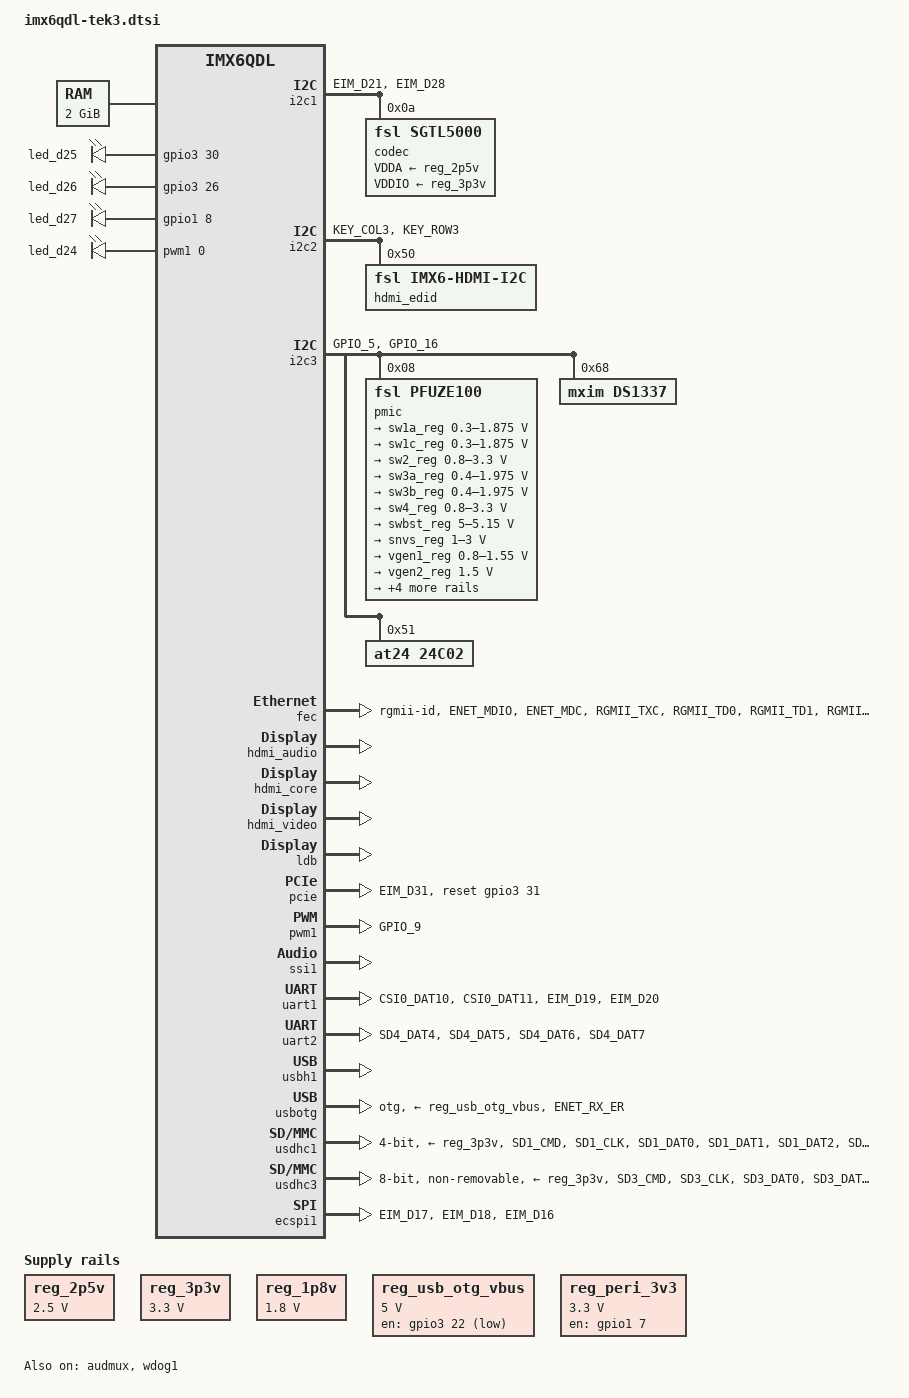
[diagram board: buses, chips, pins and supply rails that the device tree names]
/*
 * Copyright 2018 TechNexion Ltd.
 *
 * Author: Richard Hu <richard.hu@technexion.com>
 *	   Wig Cheng  <wig.cheng@technexion.com>
 *	   Ray Chang  <ray.chang@technexion.com>
 *
 * This program is free software; you can redistribute it and/or modify
 * it under the terms of the GNU General Public License version 2 as
 * published by the Free Software Foundation.
 *
 */

#include <dt-bindings/gpio/gpio.h>

/* External GPIO */
#define TEK_GPIO_P233 gpio1 1
#define TEK_GPIO_P235 gpio2 9
#define TEK_GPIO_P237 gpio2 10
#define TEK_GPIO_P239 gpio6 1
#define TEK_GPIO_P241 gpio6 2
#define TEK_GPIO_P243 gpio6 3
#define TEK_GPIO_P245 gpio6 4
#define TEK_GPIO_P247 gpio6 5
#define TEK_GPIO_P133 gpio1 3
#define TEK_GPIO_P135 gpio1 4
#define TEK_GPIO_P137 gpio1 6
#define TEK_GPIO_P139 gpio5 27

/ {
	aliases {
		mxcfb0 = &mxcfb1;
		mxcfb1 = &mxcfb2;
		mxcfb2 = &mxcfb3;
		mxcfb3 = &mxcfb4;
	};

	chosen {
		stdout-path = &uart1;
	};

	memory: memory {
		reg = <0x10000000 0x80000000>;
	};

	regulators {
		compatible = "simple-bus";
		#address-cells = <1>;
		#size-cells = <0>;

		reg_2p5v: regulator@0 {
			compatible = "regulator-fixed";
			reg = <0>;
			regulator-name = "2P5V";
			regulator-min-microvolt = <2500000>;
			regulator-max-microvolt = <2500000>;
			regulator-always-on;
		};

		reg_3p3v: regulator@1 {
			compatible = "regulator-fixed";
			reg = <1>;
			regulator-name = "3P3V";
			regulator-min-microvolt = <3300000>;
			regulator-max-microvolt = <3300000>;
			regulator-always-on;
		};

		reg_1p8v: regulator@2 {
			compatible = "regulator-fixed";
			reg = <2>;
			regulator-name = "1P8V";
			regulator-min-microvolt = <1800000>;
			regulator-max-microvolt = <1800000>;
			regulator-always-on;
		};

		reg_usb_otg_vbus: regulator@3 {
			compatible = "regulator-fixed";
			reg = <3>;
			regulator-name = "usb_otg_vbus";
			regulator-min-microvolt = <5000000>;
			regulator-max-microvolt = <5000000>;
			gpio = <&gpio3 22 0>;
		};

		reg_peri_3v3: regulator@4 {
			compatible = "regulator-fixed";
			reg = <4>;
			pinctrl-names = "default";
			pinctrl-0 = <&pinctrl_peri_3v3>;
			regulator-name = "peri_3v3";
			regulator-min-microvolt = <3300000>;
			regulator-max-microvolt = <3300000>;
			gpios = <&gpio1 7 GPIO_ACTIVE_HIGH>;
			enable-active-high;
			regulator-always-on;
		};
	};

	sound {
		compatible = "fsl,imx6-tek3-sgtl5000",
			     "fsl,imx-audio-sgtl5000";
		model = "audio-sgtl5000";
		ssi-controller = <&ssi1>;
		audio-codec = <&codec>;
		audio-routing =
			"MIC_IN", "Mic Jack",
			"Mic Jack", "Mic Bias",
			"Headphone Jack", "HP_OUT";
		mux-int-port = <1>;
		mux-ext-port = <3>;
	};

	sound-hdmi {
		compatible = "fsl,imx6q-audio-hdmi",
			     "fsl,imx-audio-hdmi";
		model = "imx-audio-hdmi";
		hdmi-controller = <&hdmi_audio>;
	};

	mxcfb1: fb@0 {
		compatible = "fsl,mxc_sdc_fb";
		disp_dev = "ldb";
		interface_pix_fmt = "RGB666";
		default_bpp = <16>;
		int_clk = <0>;
		late_init = <0>;
		status = "disabled";
	};

	mxcfb2: fb@1 {
		compatible = "fsl,mxc_sdc_fb";
		disp_dev = "hdmi";
		interface_pix_fmt = "RGB24";
		mode_str ="1920x1080M@60";
		default_bpp = <24>;
		int_clk = <0>;
		late_init = <0>;
		status = "disabled";
	};

	mxcfb3: fb@2 {
		compatible = "fsl,mxc_sdc_fb";
		disp_dev = "lcd";
		interface_pix_fmt = "RGB565";
		mode_str ="CLAA-WVGA";
		default_bpp = <16>;
		int_clk = <0>;
		late_init = <0>;
		status = "disabled";
	};

	mxcfb4: fb@3 {
		compatible = "fsl,mxc_sdc_fb";
		disp_dev = "ldb";
		interface_pix_fmt = "RGB666";
		default_bpp = <16>;
		int_clk = <0>;
		late_init = <0>;
		status = "disabled";
	};

	lcd@0 {
		compatible = "fsl,lcd";
		ipu_id = <0>;
		disp_id = <0>;
		default_ifmt = "RGB24";
		pinctrl-names = "default";
		pinctrl-0 = <&pinctrl_ipu1>;
		status = "okay";
	};

	gpio-leds {
		compatible = "gpio-leds";
		pinctrl-names = "default";
		pinctrl-0 = <&pinctrl_led_gpio>;

		led_d25 {
			gpios = <&gpio3 30 0>;
			default-state = "on";
		};

		led_d26 {
			gpios = <&gpio3 26 0>;
			default-state = "on";
		};

		led_d27 {
			gpios = <&gpio1 8 0>;
			default-state = "on";
		};
	};

	pwm-leds {
		compatible = "pwm-leds";

		led_d24 {
			label = "led_d24";
			pwms = <&pwm1 0 50000>;
			max-brightness = <255>;
			linux,default-trigger = "default-on";
		};
	};

	v4l2_cap_0 {
		compatible = "fsl,imx6q-v4l2-capture";
		ipu_id = <0>;
		csi_id = <0>;
		mclk_source = <0>;
		status = "okay";
	};

	v4l2_out {
		compatible = "fsl,mxc_v4l2_output";
		status = "okay";
	};

};

&audmux {
	pinctrl-names = "default";
	pinctrl-0 = <&pinctrl_audmux>;
	status = "okay";
};

&i2c1 {
	pinctrl-names = "default";
	pinctrl-0 = <&pinctrl_i2c1>;
	status = "okay";

	codec: sgtl5000@a {
		compatible = "fsl,sgtl5000";
		reg = <0x0a>;
		clocks = <&clks 201>;
		VDDA-supply = <&reg_2p5v>;
		VDDIO-supply = <&reg_3p3v>;
	};

};

&i2c2 {
	pinctrl-names = "default";
	pinctrl-0 = <&pinctrl_i2c2>;
	status = "okay";

	hdmi_edid: edid@50 {
		compatible = "fsl,imx6-hdmi-i2c";
		reg = <0x50>;
	};
};

&i2c3 {
	pinctrl-names = "default";
	pinctrl-0 = <&pinctrl_i2c3>;
	status = "okay";

	pmic: pfuze100@8 {
		compatible = "fsl,pfuze100";
		reg = <0x08>;

		regulators {
			sw1a_reg: sw1ab {
				regulator-min-microvolt = <300000>;
				regulator-max-microvolt = <1875000>;
				regulator-boot-on;
				regulator-always-on;
				regulator-ramp-delay = <6250>;
			};

			sw1c_reg: sw1c {
				regulator-min-microvolt = <300000>;
				regulator-max-microvolt = <1875000>;
				regulator-boot-on;
				regulator-always-on;
				regulator-ramp-delay = <6250>;
			};

			sw2_reg: sw2 {
				regulator-min-microvolt = <800000>;
				regulator-max-microvolt = <3300000>;
				regulator-boot-on;
				regulator-always-on;
				regulator-ramp-delay = <6250>;
			};

			sw3a_reg: sw3a {
				regulator-min-microvolt = <400000>;
				regulator-max-microvolt = <1975000>;
				regulator-boot-on;
				regulator-always-on;
			};

			sw3b_reg: sw3b {
				regulator-min-microvolt = <400000>;
				regulator-max-microvolt = <1975000>;
				regulator-boot-on;
				regulator-always-on;
			};

			sw4_reg: sw4 {
				regulator-min-microvolt = <800000>;
				regulator-max-microvolt = <3300000>;
			};

			swbst_reg: swbst {
				regulator-min-microvolt = <5000000>;
				regulator-max-microvolt = <5150000>;
			};

			snvs_reg: vsnvs {
				regulator-min-microvolt = <1000000>;
				regulator-max-microvolt = <3000000>;
				regulator-boot-on;
				regulator-always-on;
			};

			vref_reg: vrefddr {
				regulator-boot-on;
				regulator-always-on;
			};

			vgen1_reg: vgen1 {
				regulator-min-microvolt = <800000>;
				regulator-max-microvolt = <1550000>;
			};

			vgen2_reg: vgen2 {
				regulator-min-microvolt = <1500000>;
				regulator-max-microvolt = <1500000>;
				regulator-boot-on;
				regulator-always-on;
			};

			vgen3_reg: vgen3 {
				regulator-min-microvolt = <1800000>;
				regulator-max-microvolt = <3300000>;
				regulator-always-on;
			};

			vgen4_reg: vgen4 {
				regulator-min-microvolt = <1800000>;
				regulator-max-microvolt = <3300000>;
			};

			vgen5_reg: vgen5 {
				regulator-min-microvolt = <1800000>;
				regulator-max-microvolt = <3300000>;
				regulator-always-on;
			};

			vgen6_reg: vgen6 {
				regulator-min-microvolt = <1800000>;
				regulator-max-microvolt = <3300000>;
			};
		};
	};

	ds1337: rtc@68 {
		compatible = "mxim,ds1337";
		reg = <0x68>;
	};

	at24@51 {
		compatible = "at24,24c02";
		pagesize = <8>;
		reg = <0x51>;
	};
};

&gpio1 {
	gpio-line-names =											\
		"", "GPIO_P233", "", "GPIO_P133", "GPIO_P135", "", "GPIO_P137", "",	\
		"", "", "", "", "", "", "", "",							\
		"", "", "", "", "", "", "", "",							\
		"", "", "", "", "", "", "", "";
	pinctrl-0 = <&pinctrl_gpio1>;
};

&gpio2 {
	gpio-line-names =											\
		"", "", "", "", "", "", "", "",							\
		"", "TEK_GPIO_P235", "GPIO_P237", "", "", "", "", "",	\
		"", "", "", "", "", "", "", "",							\
		"", "", "", "", "", "", "", "";
	pinctrl-0 = <&pinctrl_gpio2>;
};

&gpio5 {
	gpio-line-names =											\
		"", "", "", "", "", "", "", "",							\
		"", "", "", "", "", "", "", "",							\
		"", "", "", "", "", "", "", "",							\
		"", "", "", "GPIO_P139", "", "", "", "";
	pinctrl-0 = <&pinctrl_gpio5>;
};

&gpio6 {
	gpio-line-names =											\
		"", "GPIO_P239", "GPIO_P241", "GPIO_P243", "GPIO_P245", "GPIO_P247", "", "",	\
		"", "", "", "", "", "", "", "",							\
		"", "", "", "", "", "", "", "",							\
		"", "", "", "", "", "", "", "";
	pinctrl-0 = <&pinctrl_gpio6>;
};

&iomuxc {
	pinctrl-names = "default";
	pinctrl-0 = <&pinctrl_hog_1>;

	imx6qdl-tek3 {
		pinctrl_hog_1: hoggrp-1 {
			fsl,pins = <
				MX6QDL_PAD_EIM_D22__GPIO3_IO22		0x80000000	/* USB OTG Power Enable */
				MX6QDL_PAD_GPIO_2__GPIO1_IO02		0x80000000	/* USDHC1 CD */
				MX6QDL_PAD_GPIO_0__CCM_CLKO1		0x000b0		/* SGTL5000 sys_mclk */
			>;
		};

		pinctrl_gpio1: gpio1grp {
			fsl,pins = <
				MX6QDL_PAD_GPIO_1__GPIO1_IO01		0x1b0b9		/* IO expansion board - GPIO_P233 - 1   */
				MX6QDL_PAD_GPIO_3__GPIO1_IO03		0x80000000	/* power board - GPIO_P133 RFU - 3   */
				MX6QDL_PAD_GPIO_4__GPIO1_IO04		0x80000000	/* power board - GPIO_P135 RFU - 4   */
				MX6QDL_PAD_GPIO_6__GPIO1_IO06		0x80000000	/* power board - GPIO_P137 RFU - 6   */
			>;
		};

		pinctrl_gpio2: gpio2grp {
			fsl,pins = <
				MX6QDL_PAD_SD4_DAT1__GPIO2_IO09		0x1b0b9		/* IO expansion board - GPIO_P235 - 41  */
				MX6QDL_PAD_SD4_DAT2__GPIO2_IO10		0x80000000	/* IO expansion board - GPIO_P237 - 42  */
			>;
		};

		pinctrl_gpio5: gpio5grp {
			fsl,pins = <
				MX6QDL_PAD_CSI0_DAT9__GPIO5_IO27	0x80000000	/* power board - GPIO_P139 RFU - 155 */
			>;
		};

		pinctrl_gpio6: gpio6grp {
			fsl,pins = <
				MX6QDL_PAD_CSI0_DAT15__GPIO6_IO01	0x80000000	/* IO expansion board - GPIO_P239 - 161 */
				MX6QDL_PAD_CSI0_DAT16__GPIO6_IO02	0x1b0b9		/* IO expansion board - GPIO_P241 - 162 */
				MX6QDL_PAD_CSI0_DAT17__GPIO6_IO03	0x1b0b9		/* IO expansion board - GPIO_P243 - 163 */
				MX6QDL_PAD_CSI0_DAT18__GPIO6_IO04	0x80000000	/* IO expansion board - GPIO_P245 - 164 */
				MX6QDL_PAD_CSI0_DAT19__GPIO6_IO05	0x80000000	/* IO expansion board - GPIO_P247 - 165 */
			>;
		};

		pinctrl_pcie_reset: pciegrp {
			fsl,pins = <
				MX6QDL_PAD_EIM_D31__GPIO3_IO31		0x130b0		/* PCIE_nRST */
			>;
		};

		pinctrl_audmux: audmuxgrp {
			fsl,pins = <
				MX6QDL_PAD_CSI0_DAT7__AUD3_RXD		0x130b0
				MX6QDL_PAD_CSI0_DAT4__AUD3_TXC		0x130b0
				MX6QDL_PAD_CSI0_DAT5__AUD3_TXD		0x110b0
				MX6QDL_PAD_CSI0_DAT6__AUD3_TXFS		0x130b0
			>;
		};

		pinctrl_ecspi1: ecspi1grp {
			fsl,pins = <
				MX6QDL_PAD_EIM_D17__ECSPI1_MISO		0x100b1
				MX6QDL_PAD_EIM_D18__ECSPI1_MOSI		0x100b1
				MX6QDL_PAD_EIM_D16__ECSPI1_SCLK		0x100b1
			>;
		};

		pinctrl_enet: enetgrp {
			fsl,pins = <
				MX6QDL_PAD_ENET_MDIO__ENET_MDIO		0x1b0b0
				MX6QDL_PAD_ENET_MDC__ENET_MDC		0x1b0b0
				MX6QDL_PAD_RGMII_TXC__RGMII_TXC		0x1b0b0
				MX6QDL_PAD_RGMII_TD0__RGMII_TD0		0x1b0b0
				MX6QDL_PAD_RGMII_TD1__RGMII_TD1		0x1b0b0
				MX6QDL_PAD_RGMII_TD2__RGMII_TD2		0x1b0b0
				MX6QDL_PAD_RGMII_TD3__RGMII_TD3		0x1b0b0
				MX6QDL_PAD_RGMII_TX_CTL__RGMII_TX_CTL	0x1b0b0
				MX6QDL_PAD_ENET_REF_CLK__ENET_TX_CLK	0x1b0b0
				MX6QDL_PAD_RGMII_RXC__RGMII_RXC		0x1b0b0
				MX6QDL_PAD_RGMII_RD0__RGMII_RD0		0x1b0b0
				MX6QDL_PAD_RGMII_RD1__RGMII_RD1		0x1b0b0
				MX6QDL_PAD_RGMII_RD2__RGMII_RD2		0x1b0b0
				MX6QDL_PAD_RGMII_RD3__RGMII_RD3		0x1b0b0
				MX6QDL_PAD_RGMII_RX_CTL__RGMII_RX_CTL	0x1b0b0
				MX6QDL_PAD_ENET_TX_EN__ENET_TX_EN	0x1b0b0
				MX6QDL_PAD_EIM_D29__GPIO3_IO29		0x1f0b1 /* phy reset */
			>;
		};

		pinctrl_flexcan1: flexcan1grp {
			fsl,pins = <
				MX6QDL_PAD_KEY_ROW2__FLEXCAN1_RX	0x80000000
				MX6QDL_PAD_KEY_COL2__FLEXCAN1_TX	0x80000000
			>;
		};

		pinctrl_flexcan2: flexcan2grp {
			fsl,pins = <
				MX6QDL_PAD_KEY_COL4__FLEXCAN2_TX	0x80000000
				MX6QDL_PAD_KEY_ROW4__FLEXCAN2_RX	0x80000000
			>;
		};

		pinctrl_i2c1: i2c1grp {
			fsl,pins = <
				MX6QDL_PAD_EIM_D21__I2C1_SCL 		0x4001b8b1
				MX6QDL_PAD_EIM_D28__I2C1_SDA 		0x4001b8b1
			>;
		};

		pinctrl_i2c2: i2c2grp {
			fsl,pins = <
				MX6QDL_PAD_KEY_COL3__I2C2_SCL		0x4001b8b1
				MX6QDL_PAD_KEY_ROW3__I2C2_SDA		0x4001b8b1
			>;
		};

		pinctrl_i2c3: i2c3grp {
			fsl,pins = <
				MX6QDL_PAD_GPIO_5__I2C3_SCL		0x4001b8b1
				MX6QDL_PAD_GPIO_16__I2C3_SDA		0x4001b8b1
			>;
		};

		pinctrl_ipu1: ipu1grp {
			fsl,pins = <
				MX6QDL_PAD_DI0_DISP_CLK__IPU1_DI0_DISP_CLK 0x10
				MX6QDL_PAD_DI0_PIN15__IPU1_DI0_PIN15       0x10
				MX6QDL_PAD_DI0_PIN2__IPU1_DI0_PIN02        0x10
				MX6QDL_PAD_DI0_PIN3__IPU1_DI0_PIN03        0x10
				MX6QDL_PAD_DI0_PIN4__IPU1_DI0_PIN04        0x80000000
				MX6QDL_PAD_DISP0_DAT0__IPU1_DISP0_DATA00   0x10
				MX6QDL_PAD_DISP0_DAT1__IPU1_DISP0_DATA01   0x10
				MX6QDL_PAD_DISP0_DAT2__IPU1_DISP0_DATA02   0x10
				MX6QDL_PAD_DISP0_DAT3__IPU1_DISP0_DATA03   0x10
				MX6QDL_PAD_DISP0_DAT4__IPU1_DISP0_DATA04   0x10
				MX6QDL_PAD_DISP0_DAT5__IPU1_DISP0_DATA05   0x10
				MX6QDL_PAD_DISP0_DAT6__IPU1_DISP0_DATA06   0x10
				MX6QDL_PAD_DISP0_DAT7__IPU1_DISP0_DATA07   0x10
				MX6QDL_PAD_DISP0_DAT8__IPU1_DISP0_DATA08   0x10
				MX6QDL_PAD_DISP0_DAT9__IPU1_DISP0_DATA09   0x10
				MX6QDL_PAD_DISP0_DAT10__IPU1_DISP0_DATA10  0x10
				MX6QDL_PAD_DISP0_DAT11__IPU1_DISP0_DATA11  0x10
				MX6QDL_PAD_DISP0_DAT12__IPU1_DISP0_DATA12  0x10
				MX6QDL_PAD_DISP0_DAT13__IPU1_DISP0_DATA13  0x10
				MX6QDL_PAD_DISP0_DAT14__IPU1_DISP0_DATA14  0x10
				MX6QDL_PAD_DISP0_DAT15__IPU1_DISP0_DATA15  0x10
				MX6QDL_PAD_DISP0_DAT16__IPU1_DISP0_DATA16  0x10
				MX6QDL_PAD_DISP0_DAT17__IPU1_DISP0_DATA17  0x10
				MX6QDL_PAD_DISP0_DAT18__IPU1_DISP0_DATA18  0x10
				MX6QDL_PAD_DISP0_DAT19__IPU1_DISP0_DATA19  0x10
				MX6QDL_PAD_DISP0_DAT20__IPU1_DISP0_DATA20  0x10
				MX6QDL_PAD_DISP0_DAT21__IPU1_DISP0_DATA21  0x10
				MX6QDL_PAD_DISP0_DAT22__IPU1_DISP0_DATA22  0x10
				MX6QDL_PAD_DISP0_DAT23__IPU1_DISP0_DATA23  0x10
			>;
		};

		pinctrl_pwm1: pwm1grp {
			fsl,pins = <
				MX6QDL_PAD_GPIO_9__PWM1_OUT		0x1b0b1
			>;
		};

		pinctrl_pwm3: pwm3grp {
			fsl,pins = <
				MX6QDL_PAD_SD4_DAT1__PWM3_OUT		0x1b0b1
			>;
		};

		pinctrl_uart1: uart1grp {
			fsl,pins = <
				MX6QDL_PAD_CSI0_DAT10__UART1_TX_DATA	0x1b0b1
				MX6QDL_PAD_CSI0_DAT11__UART1_RX_DATA	0x1b0b1
				MX6QDL_PAD_EIM_D19__UART1_CTS_B		0x1b0b1
				MX6QDL_PAD_EIM_D20__UART1_RTS_B		0x1b0b1
			>;
		};

		pinctrl_uart2: uart2grp {
			fsl,pins = <
				MX6QDL_PAD_SD4_DAT4__UART2_RX_DATA	0x1b0b1
				MX6QDL_PAD_SD4_DAT5__UART2_RTS_B	0x1b0b1
				MX6QDL_PAD_SD4_DAT6__UART2_CTS_B	0x1b0b1
				MX6QDL_PAD_SD4_DAT7__UART2_TX_DATA	0x1b0b1
			>;
		};

		pinctrl_usbotg: usbotggrp {
			fsl,pins = <
				MX6QDL_PAD_ENET_RX_ER__USB_OTG_ID	0x17059
			>;
		};

		pinctrl_usdhc1: usdhc1grp {
			fsl,pins = <
				MX6QDL_PAD_SD1_CMD__SD1_CMD		0x17059
				MX6QDL_PAD_SD1_CLK__SD1_CLK		0x10059
				MX6QDL_PAD_SD1_DAT0__SD1_DATA0		0x17059
				MX6QDL_PAD_SD1_DAT1__SD1_DATA1		0x17059
				MX6QDL_PAD_SD1_DAT2__SD1_DATA2		0x17059
				MX6QDL_PAD_SD1_DAT3__SD1_DATA3		0x17059
			>;
		};

		pinctrl_usdhc3: usdhc3grp {
			fsl,pins = <
				MX6QDL_PAD_SD3_CMD__SD3_CMD		0x17059
				MX6QDL_PAD_SD3_CLK__SD3_CLK		0x10059
				MX6QDL_PAD_SD3_DAT0__SD3_DATA0		0x17059
				MX6QDL_PAD_SD3_DAT1__SD3_DATA1		0x17059
				MX6QDL_PAD_SD3_DAT2__SD3_DATA2		0x17059
				MX6QDL_PAD_SD3_DAT3__SD3_DATA3		0x17059
				MX6QDL_PAD_SD3_DAT4__SD3_DATA4		0x17059
				MX6QDL_PAD_SD3_DAT5__SD3_DATA5		0x17059
				MX6QDL_PAD_SD3_DAT6__SD3_DATA6		0x17059
				MX6QDL_PAD_SD3_DAT7__SD3_DATA7		0x17059
			>;
		};

		pinctrl_led_gpio: ledgpiogrp {
			fsl,pins = <
				MX6QDL_PAD_EIM_D30__GPIO3_IO30		0x80000000
				MX6QDL_PAD_EIM_D26__GPIO3_IO26		0x80000000
				MX6QDL_PAD_GPIO_8__GPIO1_IO08		0x80000000
			>;
		};

		pinctrl_peri_3v3: peri3v3grp {
			fsl,pins = <
				MX6QDL_PAD_GPIO_7__GPIO1_IO07		0x80000000
			>;
		};

		pinctrl_enet_3v3: enet3v3grp {
			fsl,pins = <
				MX6QDL_PAD_GPIO_18__GPIO7_IO13		0x80000000
			>;
		};
	};
};

&clks {
	assigned-clocks = <&clks IMX6QDL_CLK_LDB_DI0_SEL>,
			  <&clks IMX6QDL_CLK_LDB_DI1_SEL>;
	assigned-clock-parents = <&clks IMX6QDL_CLK_PLL2_PFD0_352M>,
				 <&clks IMX6QDL_CLK_PLL2_PFD0_352M>;
};

&fec {
	pinctrl-names = "default";
	pinctrl-0 = <&pinctrl_enet &pinctrl_enet_3v3>;
	phy-mode = "rgmii-id";
	phy-reset-gpios = <&gpio3 29 GPIO_ACTIVE_LOW>;
	pinctrl-assert-gpios = <&gpio7 13 GPIO_ACTIVE_LOW>;
	fsl,magic-packet;
	status = "okay";
};

&hdmi_audio {
	status = "okay";
};

&hdmi_core {
	ipu_id = <0>;
	disp_id = <1>;
	status = "okay";
};

&hdmi_video {
	fsl,phy_reg_vlev = <0x0294>;
	fsl,phy_reg_cksymtx = <0x800d>;
	status = "okay";
};

&can1 {
	pinctrl-names = "default";
	pinctrl-0 = <&pinctrl_flexcan1>;
	status = "disabled";
};

&can2 {
	pinctrl-names = "default";
	pinctrl-0 = <&pinctrl_flexcan2>;
	status = "disabled";
};

&ldb {
	status = "okay";
	lvds-channel@0 {
		fsl,data-mapping = "spwg";
		fsl,data-width = <24>;
		primary;
		status = "okay";

		display-timings {
			native-mode = <&timing0>;
			timing0: hj070na {
				clock-frequency = <51000000>;
				hactive = <1024>;
				vactive = <600>;
				hback-porch = <90>;
				hfront-porch = <120>;
				vback-porch = <1>;
				vfront-porch = <1>;
				hsync-len = <100>;
				vsync-len = <33>;
			};
		};

	};
};

&pcie {
	pinctrl-names = "default";
	pinctrl-0 = <&pinctrl_pcie_reset>;
	reset-gpio = <&gpio3 31 0>;
	status = "okay";
};

&pwm1 {
	pinctrl-names = "default";
	pinctrl-0 = <&pinctrl_pwm1>;
	status = "okay";
};

&ssi1 {
	status = "okay";
};

&uart1 {
	pinctrl-names = "default";
	pinctrl-0 = <&pinctrl_uart1>;
	uart-has-rtscts;
	status = "okay";
};

&uart2 {
	pinctrl-names = "default";
	pinctrl-0 = <&pinctrl_uart2>;
	uart-has-rtscts;
	status = "okay";
};

&usbh1 {
	status = "okay";
};

&usbotg {
	vbus-supply = <&reg_usb_otg_vbus>;
	pinctrl-names = "default";
	pinctrl-0 = <&pinctrl_usbotg>;
	disable-over-current;
	dr_mode = "otg";
	status = "okay";
};

/* Baseboard microSD slot */
&usdhc1 {
	pinctrl-names = "default";
	pinctrl-0 = <&pinctrl_usdhc1>;
	bus-width = <4>;
	vmmc-supply = <&reg_3p3v>;
	cd-gpios = <&gpio1 2 GPIO_ACTIVE_LOW>;
	status = "okay";
};

/* Module i-Nand */
&usdhc3 {
	pinctrl-names = "default";
	pinctrl-0 = <&pinctrl_usdhc3>;
	bus-width = <8>;
	non-removable;
	vmmc-supply = <&reg_3p3v>;
	status = "okay";
};

&wdog1 {
	status = "okay";
};

&ecspi1 {
	fsl,spi-num-chipselects = <1>;
	cs-gpios = <&gpio2 30 0>; /* EIM_EB2 */
	pinctrl-names = "default";
	pinctrl-0 = <&pinctrl_ecspi1>;
	status = "okay";
};
